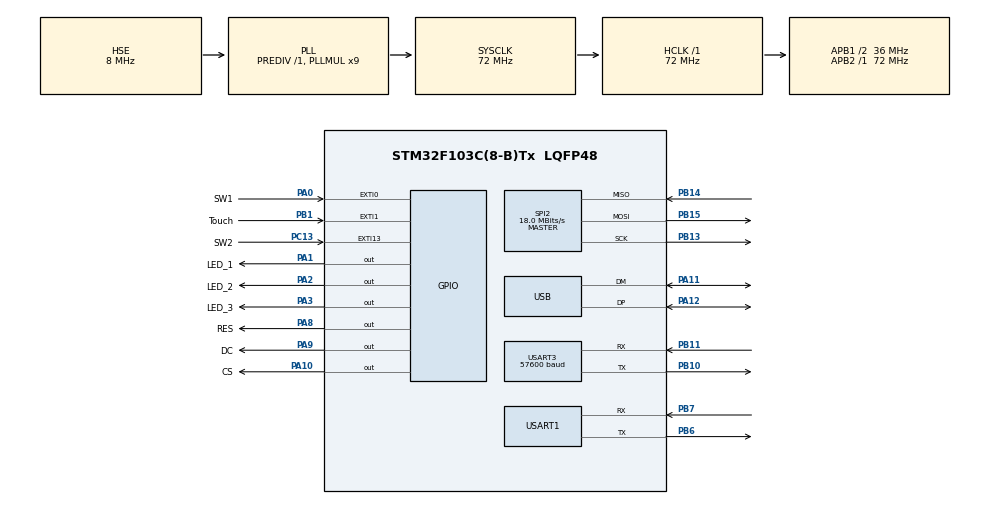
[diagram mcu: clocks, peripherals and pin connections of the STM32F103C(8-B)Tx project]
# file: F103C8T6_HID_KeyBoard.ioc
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Dma.Request0=USART3_RX
Dma.USART3_RX.0.Direction=DMA_PERIPH_TO_MEMORY
Dma.USART3_RX.0.Instance=DMA1_Channel3
Dma.USART3_RX.0.MemDataAlignment=DMA_MDATAALIGN_BYTE
Dma.USART3_RX.0.MemInc=DMA_MINC_ENABLE
Dma.USART3_RX.0.Mode=DMA_NORMAL
Dma.USART3_RX.0.PeriphDataAlignment=DMA_PDATAALIGN_BYTE
Dma.USART3_RX.0.PeriphInc=DMA_PINC_DISABLE
Dma.USART3_RX.0.Priority=DMA_PRIORITY_LOW
Mcu.Family=STM32F1
Mcu.Name=STM32F103C(8-B)Tx
Mcu.Package=LQFP48
NVIC.DMA1_Channel3_IRQn=true\:0\:0\:true\:false\:true\:false\:true
NVIC.EXTI0_IRQn=true\:1\:0\:true\:false\:true\:true\:true
NVIC.EXTI15_10_IRQn=true\:1\:0\:true\:false\:true\:true\:true
NVIC.EXTI1_IRQn=true\:1\:0\:true\:false\:true\:true\:true
NVIC.PriorityGroup=NVIC_PRIORITYGROUP_4
NVIC.USART1_IRQn=true\:1\:0\:true\:false\:true\:true\:true
NVIC.USART3_IRQn=true\:1\:0\:true\:false\:true\:true\:true
NVIC.USB_LP_CAN1_RX0_IRQn=true\:0\:0\:false\:false\:true\:false\:true
PA0-WKUP.GPIO_Label=SW1
PA0-WKUP.GPIO_ModeDefaultEXTI=GPIO_MODE_IT_RISING_FALLING
PA0-WKUP.Signal=GPXTI0
PA1.GPIO_Label=LED_1
PA1.PinState=GPIO_PIN_SET
PA1.Signal=GPIO_Output
PA10.GPIO_Label=CS
PA10.PinState=GPIO_PIN_SET
PA10.Signal=GPIO_Output
PA11.Mode=Device
PA11.Signal=USB_DM
PA12.Mode=Device
PA12.Signal=USB_DP
PA13.Mode=Serial_Wire
PA13.Signal=SYS_JTMS-SWDIO
PA14.Mode=Serial_Wire
PA14.Signal=SYS_JTCK-SWCLK
PA2.GPIO_Label=LED_2
PA2.PinState=GPIO_PIN_SET
PA2.Signal=GPIO_Output
PA3.GPIO_Label=LED_3
PA3.PinState=GPIO_PIN_SET
PA3.Signal=GPIO_Output
PA8.GPIO_Label=RES
PA8.PinState=GPIO_PIN_SET
PA8.Signal=GPIO_Output
PA9.GPIO_Label=DC
PA9.Signal=GPIO_Output
PB1.GPIO_Label=Touch
PB1.GPIO_ModeDefaultEXTI=GPIO_MODE_IT_RISING_FALLING
PB1.Signal=GPXTI1
PB10.Mode=Asynchronous
PB10.Signal=USART3_TX
PB11.Mode=Asynchronous
PB11.Signal=USART3_RX
PB13.Mode=Full_Duplex_Master
PB13.Signal=SPI2_SCK
PB14.Mode=Full_Duplex_Master
PB14.Signal=SPI2_MISO
PB15.Mode=Full_Duplex_Master
PB15.Signal=SPI2_MOSI
PB6.Mode=Asynchronous
PB6.Signal=USART1_TX
PB7.Mode=Asynchronous
PB7.Signal=USART1_RX
PC13-TAMPER-RTC.GPIO_Label=SW2
PC13-TAMPER-RTC.GPIO_ModeDefaultEXTI=GPIO_MODE_IT_RISING_FALLING
PC13-TAMPER-RTC.Signal=GPXTI13
PD0-OSC_IN.Mode=HSE-External-Oscillator
PD0-OSC_IN.Signal=RCC_OSC_IN
PD1-OSC_OUT.Mode=HSE-External-Oscillator
PD1-OSC_OUT.Signal=RCC_OSC_OUT
ProjectManager.HeapSize=0x200
ProjectManager.StackSize=0x400
ProjectManager.TargetToolchain=MDK-ARM V5.27
RCC.AHBFreq_Value=72000000
RCC.APB1CLKDivider=RCC_HCLK_DIV2
RCC.APB1Freq_Value=36000000
RCC.APB1TimFreq_Value=72000000
RCC.APB2Freq_Value=72000000
RCC.APB2TimFreq_Value=72000000
RCC.HCLKFreq_Value=72000000
RCC.PLLMUL=RCC_PLL_MUL9
RCC.SYSCLKFreq_VALUE=72000000
RCC.SYSCLKSource=RCC_SYSCLKSOURCE_PLLCLK
RCC.USBFreq_Value=48000000
RCC.USBPrescaler=RCC_USBCLKSOURCE_PLL_DIV1_5
SPI2.CalculateBaudRate=18.0 MBits/s
SPI2.Direction=SPI_DIRECTION_2LINES
SPI2.Mode=SPI_MODE_MASTER
SPI2.VirtualType=VM_MASTER
USART1.VirtualMode=VM_ASYNC
USART3.BaudRate=57600
USART3.VirtualMode=VM_ASYNC
USB_DEVICE.CLASS_NAME_FS=HID
USB_DEVICE.VirtualMode=Hid
USB_DEVICE.VirtualModeFS=Hid_FS
VP_USB_DEVICE_VS_USB_DEVICE_HID_FS.Mode=HID_FS
board=custom

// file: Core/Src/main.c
/* USER CODE BEGIN Header */
/**
  ******************************************************************************
  * @file           : main.c
  * @brief          : Main program body
  ******************************************************************************
  * @attention
  *
  * <h2><center>&copy; Copyright (c) 2021 STMicroelectronics.
  * All rights reserved.</center></h2>
  *
  * This software component is licensed by ST under Ultimate Liberty license
  * SLA0044, the "License"; You may not use this file except in compliance with
  * the License. You may obtain a copy of the License at:
  *                             www.st.com/SLA0044
  *
  ******************************************************************************
  */
/* USER CODE END Header */

#include "main.h"
#include "dma.h"
#include "spi.h"
#include "usart.h"
#include "usb_device.h"
#include "gpio.h"

/* USER CODE BEGIN Includes */
#include "usbd_hid.h"
#include "oled.h"
#include "bmp.h"
#include "as608.h"
#ifdef __GNUC__
	#define PUTCHAR_PROTOTYPE int __io_putchar(int ch)
#else
	#define PUTCHAR_PROTOTYPE int fputc(int ch, FILE *f)
#endif
PUTCHAR_PROTOTYPE
{
		HAL_UART_Transmit(&huart1 , (uint8_t *)&ch, 1, 0xFFFF);
		return ch;
}
/* USER CODE END Includes */

/* USER CODE BEGIN PTD */
uint8_t KeyBoard[8] = {0,0,4,0,0,0,0,0};
uint8_t KeyBoard01[8] = {0,0,0,0,0,0,0,0};
extern USBD_HandleTypeDef hUsbDeviceFS;
__IO uint8_t flag;
uint8_t aRxBuffer[1];
__IO uint8_t KeyBuff[4];
uint8_t key_status;
/* USER CODE END PTD */

void SystemClock_Config(void);

int main(void)
{

  /* MCU Configuration--------------------------------------------------------*/

  /* Reset of all peripherals, Initializes the Flash interface and the Systick. */
  HAL_Init();

  /* Configure the system clock */
  SystemClock_Config();

  /* Initialize all configured peripherals */
  MX_GPIO_Init();
  MX_USB_DEVICE_Init();
  MX_SPI2_Init();
	MX_DMA_Init();
  MX_USART1_UART_Init();
  MX_USART3_UART_Init();
  /* USER CODE BEGIN 2 */
	HAL_UART_Receive_IT(&huart1,aRxBuffer,1);
	__HAL_UART_ENABLE_IT(&huart3, UART_IT_IDLE);
	HAL_UART_Receive_DMA(&huart3,rx_buffer_3,BUFFER_SIZE);
	//ReadCustomData();
//	OLED_Init();
//	HAL_Delay(1000);
//	OLED_Clear();
//	uint8_t t=' ';
	HAL_GPIO_WritePin(GPIOA, LED_1_Pin, GPIO_PIN_RESET);
	while(PS_HandShake(&AS608Addr))
	{
//	  OLED_ShowString(0,2,(unsigned char*)" ShakHands....");
		HAL_GPIO_WritePin(GPIOA, LED_1_Pin, GPIO_PIN_SET);
	}
	//握手通过
//	OLED_ShowString(0,2,(unsigned char*)" Ready To Work ");

	HAL_Delay(100);
  /* USER CODE END 2 */

  /* Infinite loop */
  while (1)
  {

    /* USER CODE BEGIN 3 */
		HAL_Delay(500);
		if(flag>=3)//==3||flag==4)
		{
			flag++;
			if(flag==5)
				flag=0;
			if(!press_FR())
			{
				if(key_status==1)
				{
					key_status=0;
					KeyBoard[0] = 0;
					KeyBoard[2] = 0x2c;//space
					USBD_HID_SendReport(&hUsbDeviceFS,(uint8_t*)&KeyBoard,sizeof(KeyBoard01));
					HAL_Delay(15);
					USBD_HID_SendReport(&hUsbDeviceFS,(uint8_t*)&KeyBoard01,sizeof(KeyBoard));
					HAL_Delay(500);
					uint8_t i=0;
					for(;i<4;i++)
					{
						KeyBoard[2] = KeyBuff[i];//KeyBuff[i]==0?0x27:KeyBuff[i]+0x1D;
						USBD_HID_SendReport(&hUsbDeviceFS,(uint8_t*)&KeyBoard,sizeof(KeyBoard));
						HAL_Delay(15);
						USBD_HID_SendReport(&hUsbDeviceFS,(uint8_t*)&KeyBoard01,sizeof(KeyBoard01));
						HAL_Delay(15);
					}
					KeyBoard[2] = 0x28;
					USBD_HID_SendReport(&hUsbDeviceFS,(uint8_t*)&KeyBoard,sizeof(KeyBoard01));
					HAL_Delay(15);
					USBD_HID_SendReport(&hUsbDeviceFS,(uint8_t*)&KeyBoard01,sizeof(KeyBoard));
				}
				else
				{
					key_status=1;
					KeyBoard[0] = 8;//win
					KeyBoard[2] = 0xf;//l
					USBD_HID_SendReport(&hUsbDeviceFS,(uint8_t*)&KeyBoard,sizeof(KeyBoard01));
					HAL_Delay(15);
					USBD_HID_SendReport(&hUsbDeviceFS,(uint8_t*)&KeyBoard01,sizeof(KeyBoard));
//					OLED_Clear();
//					OLED_ShowCHinese(48,3,8);
//					OLED_ShowCHinese(48+16,3,9);
				}
			}
		}
		else if(flag==1)
		{
			Add_FR();
			OLED_ShowString(0,4,(unsigned char*)" FUN:ADD FRIGER ");
			flag=0;
//			flag=0;
//			KeyBoard[0] = 0;
//			KeyBoard[2] = 0x2c;//space
//			USBD_HID_SendReport(&hUsbDeviceFS,(uint8_t*)&KeyBoard,sizeof(KeyBoard01));
//			HAL_Delay(15);
//			USBD_HID_SendReport(&hUsbDeviceFS,(uint8_t*)&KeyBoard01,sizeof(KeyBoard));
//			HAL_Delay(1000);
//			uint8_t i=0;
//			for(;i<4;i++)
//			{
//				KeyBoard[2] = KeyBuff[i];
//				USBD_HID_SendReport(&hUsbDeviceFS,(uint8_t*)&KeyBoard,sizeof(KeyBoard));
//				HAL_Delay(15);
//				USBD_HID_SendReport(&hUsbDeviceFS,(uint8_t*)&KeyBoard01,sizeof(KeyBoard01));
//				HAL_Delay(15);
//			}
//			OLED_Clear();
//			OLED_ShowCHinese(48,3,7);
//			OLED_ShowCHinese(48+16,3,8);
		}
		else if(flag==2)
		{
			flag=0;
			KeyBoard[0] = 8;//win
			KeyBoard[2] = 0xf;//l
			USBD_HID_SendReport(&hUsbDeviceFS,(uint8_t*)&KeyBoard,sizeof(KeyBoard01));
			HAL_Delay(15);
			USBD_HID_SendReport(&hUsbDeviceFS,(uint8_t*)&KeyBoard01,sizeof(KeyBoard));
//			OLED_Clear();
//			OLED_ShowCHinese(48,3,8);
//			OLED_ShowCHinese(48+16,3,9);
		}

//		OLED_Clear();
//	//	LED_ON;
//		OLED_ShowCHinese(0,0,0);//中
//		OLED_ShowCHinese(18,0,1);//景
//		OLED_ShowCHinese(36,0,2);//园
//		OLED_ShowCHinese(54,0,3);//电
//		OLED_ShowCHinese(72,0,4);//子
//		OLED_ShowCHinese(90,0,5);//科
//		OLED_ShowCHinese(108,0,6);//技
//		OLED_ShowString(0,3,"1.3' OLED TEST");
//		//OLED_ShowString(8,2,"ZHONGJINGYUAN");
//	 //	OLED_ShowString(20,4,"2014/05/01");
//		OLED_ShowString(0,6,"ASCII:");
//		OLED_ShowString(63,6,"CODE:");
//		OLED_ShowChar(48,6,t);//显示ASCII字符
//		t++;
//		if(t>'~')t=' ';
//		OLED_ShowNum(103,6,t,3,16);//显示ASCII字符的码值
//
//
//		HAL_Delay(8000);
//		OLED_Clear();
//		HAL_Delay(8000);
//	//		LED_OFF;
//		OLED_DrawBMP(0,0,128,8,BMP1);  //图片显示(图片显示慎用，生成的字表较大，会占用较多空间，FLASH空间8K以下慎用)
//		HAL_Delay(8000);
//		OLED_DrawBMP(0,0,128,8,BMP2);
//		HAL_Delay(8000);
  }
  /* USER CODE END 3 */
}

void SystemClock_Config(void)
{
  RCC_OscInitTypeDef RCC_OscInitStruct = {0};
  RCC_ClkInitTypeDef RCC_ClkInitStruct = {0};
  RCC_PeriphCLKInitTypeDef PeriphClkInit = {0};

  /** Initializes the CPU, AHB and APB busses clocks
  */
  RCC_OscInitStruct.OscillatorType = RCC_OSCILLATORTYPE_HSE;
  RCC_OscInitStruct.HSEState = RCC_HSE_ON;
  RCC_OscInitStruct.HSEPredivValue = RCC_HSE_PREDIV_DIV1;
  RCC_OscInitStruct.HSIState = RCC_HSI_ON;
  RCC_OscInitStruct.PLL.PLLState = RCC_PLL_ON;
  RCC_OscInitStruct.PLL.PLLSource = RCC_PLLSOURCE_HSE;
  RCC_OscInitStruct.PLL.PLLMUL = RCC_PLL_MUL9;
  if (HAL_RCC_OscConfig(&RCC_OscInitStruct) != HAL_OK)
  {
    Error_Handler();
  }
  /** Initializes the CPU, AHB and APB busses clocks
  */
  RCC_ClkInitStruct.ClockType = RCC_CLOCKTYPE_HCLK|RCC_CLOCKTYPE_SYSCLK
                              |RCC_CLOCKTYPE_PCLK1|RCC_CLOCKTYPE_PCLK2;
  RCC_ClkInitStruct.SYSCLKSource = RCC_SYSCLKSOURCE_PLLCLK;
  RCC_ClkInitStruct.AHBCLKDivider = RCC_SYSCLK_DIV1;
  RCC_ClkInitStruct.APB1CLKDivider = RCC_HCLK_DIV2;
  RCC_ClkInitStruct.APB2CLKDivider = RCC_HCLK_DIV1;

  if (HAL_RCC_ClockConfig(&RCC_ClkInitStruct, FLASH_LATENCY_2) != HAL_OK)
  {
    Error_Handler();
  }
  PeriphClkInit.PeriphClockSelection = RCC_PERIPHCLK_USB;
  PeriphClkInit.UsbClockSelection = RCC_USBCLKSOURCE_PLL_DIV1_5;
  if (HAL_RCCEx_PeriphCLKConfig(&PeriphClkInit) != HAL_OK)
  {
    Error_Handler();
  }
}

/* USER CODE BEGIN 4 */
void HAL_GPIO_EXTI_Callback(uint16_t GPIO_Pin)
{
  if(GPIO_Pin==SW1_Pin)
  {
		if(HAL_GPIO_ReadPin(SW1_GPIO_Port,SW1_Pin) == GPIO_PIN_SET)
		{
//			light_open();
		}
		else if(HAL_GPIO_ReadPin(SW1_GPIO_Port,SW1_Pin) == GPIO_PIN_RESET)
		{
			//flag=1;
		}
	}
	else if(GPIO_Pin==SW2_Pin)
  {
		if(HAL_GPIO_ReadPin(SW2_GPIO_Port,SW2_Pin) == GPIO_PIN_SET)
		{
//			light_start_open();
//			light_start_setup();
		}
		else if(HAL_GPIO_ReadPin(SW2_GPIO_Port,SW2_Pin) == GPIO_PIN_RESET)
		{
			//flag=2;
		}
	}
	else if(GPIO_Pin==Touch_Pin)
  {
		if(HAL_GPIO_ReadPin(Touch_GPIO_Port,Touch_Pin) == GPIO_PIN_SET)
		{
			if(!flag)
				flag=3;
		}
		else if(HAL_GPIO_ReadPin(Touch_GPIO_Port,Touch_Pin) == GPIO_PIN_RESET)
		{

		}
	}
}
void HAL_UART_RxCpltCallback(UART_HandleTypeDef *UartHandle)
{
	if(UartHandle == &huart1)
	{
		HAL_UART_Receive_IT(&huart1,aRxBuffer,1);
		CmdHandle();
	}
}
/* USER CODE END 4 */

void Error_Handler(void)
{
}

/************************ (C) COPYRIGHT STMicroelectronics *****END OF FILE****/
